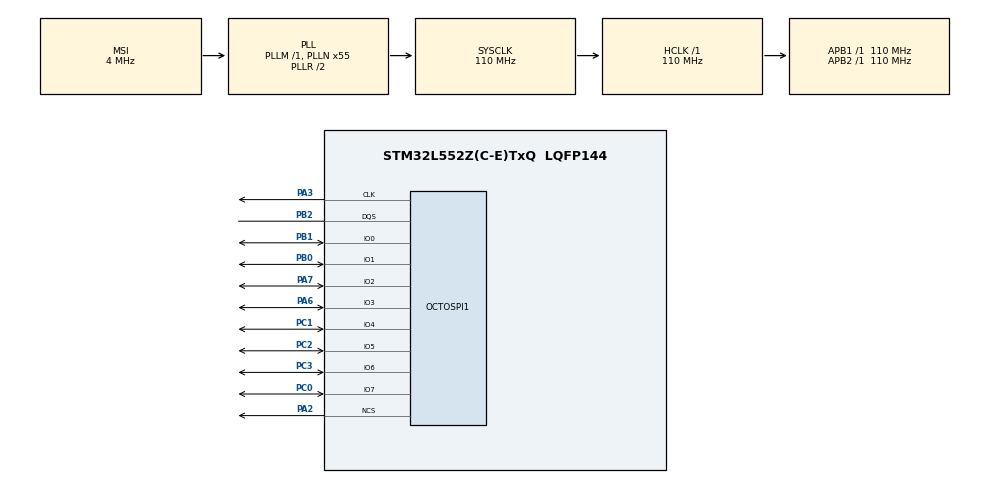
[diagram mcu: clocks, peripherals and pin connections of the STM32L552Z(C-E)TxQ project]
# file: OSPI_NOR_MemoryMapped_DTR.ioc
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Mcu.Family=STM32L5
Mcu.Name=STM32L552Z(C-E)TxQ
Mcu.Package=LQFP144
NVIC.OCTOSPI1_IRQn=true\:0\:0\:false\:false\:true\:true\:true\:true
NVIC.PriorityGroup=NVIC_PRIORITYGROUP_3
OCTOSPI1.ChipSelectHighTime=2
OCTOSPI1.ClockPrescaler=2
OCTOSPI1.DelayBlockBypass=HAL_OSPI_DELAY_BLOCK_USED
OCTOSPI1.DelayHoldQuarterCycle=HAL_OSPI_DHQC_ENABLE
OCTOSPI1.DeviceSize=26
OCTOSPI1.FifoThreshold=4
OCTOSPI1.MemoryType=HAL_OSPI_MEMTYPE_MACRONIX
PA2.GPIO_PuPd=GPIO_PULLUP
PA2.Mode=octods_mode
PA2.Signal=OCTOSPI1_NCS
PA3.Mode=octods_mode
PA3.Signal=OCTOSPI1_CLK
PA6.Mode=octods_mode
PA6.Signal=OCTOSPI1_IO3
PA7.Mode=octods_mode
PA7.Signal=OCTOSPI1_IO2
PB0.Mode=octods_mode
PB0.Signal=OCTOSPI1_IO1
PB1.Mode=octods_mode
PB1.Signal=OCTOSPI1_IO0
PB2.Mode=octods_mode
PB2.Signal=OCTOSPI1_DQS
PC0.Mode=octods_mode
PC0.Signal=OCTOSPI1_IO7
PC1.Mode=octods_mode
PC1.Signal=OCTOSPI1_IO4
PC2.Mode=octods_mode
PC2.Signal=OCTOSPI1_IO5
PC3.Mode=octods_mode
PC3.Signal=OCTOSPI1_IO6
ProjectManager.HeapSize=0x200
ProjectManager.StackSize=0x400
ProjectManager.TargetToolchain=EWARM V8.32
RCC.AHBFreq_Value=110000000
RCC.APB1Freq_Value=110000000
RCC.APB1TimFreq_Value=110000000
RCC.APB2Freq_Value=110000000
RCC.APB2TimFreq_Value=110000000
RCC.CortexFreq_Value=110000000
RCC.HCLKFreq_Value=110000000
RCC.HSE_VALUE=16000000
RCC.HSI48_VALUE=48000000
RCC.HSI_VALUE=16000000
RCC.LSE_VALUE=32768
RCC.MSI_VALUE=4000000
RCC.PLLN=55
RCC.SYSCLKFreq_VALUE=110000000
RCC.SYSCLKSource=RCC_SYSCLKSOURCE_PLLCLK
RCC.VCOOutputFreq_Value=220000000
VP_ICACHE_VS_ICACHE.Mode=DirectMappedCache
VP_PWR_VS_DBSignals.Mode=DisableDeadBatterySignals
board=custom

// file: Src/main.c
/* USER CODE BEGIN Header */
/**
  ******************************************************************************
  * @file    OSPI/OSPI_NOR_MemoryMapped_DTR/Src/main.c
  * @author  MCD Application Team
  * @brief   This example describes how to configure and use OctoSPI through
  *          the STM32L5xx HAL API.
  ******************************************************************************
  * @attention
  *
  * <h2><center>&copy; Copyright (c) 2019 STMicroelectronics.
  * All rights reserved.</center></h2>
  *
  * This software component is licensed by ST under BSD 3-Clause license,
  * the "License"; You may not use this file except in compliance with the
  * License. You may obtain a copy of the License at:
  *                        opensource.org/licenses/BSD-3-Clause
  *
  ******************************************************************************
  */
/* USER CODE END Header */
#include "main.h"

OSPI_HandleTypeDef hospi1;

/* USER CODE BEGIN PV */
__IO uint8_t CmdCplt;

/* Buffer used for transmission */
uint8_t aTxBuffer[] = " ****Memory-mapped OSPI communication****  ****Memory-mapped OSPI communication****  ****Memory-mapped OSPI communication****  ****Memory-mapped OSPI communication****  ****Memory-mapped OSPI communication****  ****Memory-mapped OSPI communication**** ";
/* USER CODE END PV */

void SystemClock_Config(void);
static void MX_ICACHE_Init(void);
static void MX_GPIO_Init(void);
static void MX_OCTOSPI1_Init(void);
/* USER CODE BEGIN PFP */
static void OSPI_WriteEnable(OSPI_HandleTypeDef *hospi);
static void OSPI_AutoPollingMemReady(OSPI_HandleTypeDef *hospi);
static void OSPI_OctalDtrModeCfg(OSPI_HandleTypeDef *hospi);
/* USER CODE END PFP */

int main(void)
{
  /* USER CODE BEGIN 1 */
  OSPI_RegularCmdTypeDef sCommand;
  OSPI_MemoryMappedTypeDef sMemMappedCfg;
  uint32_t address = 0;
  uint16_t index;
  __IO uint8_t step = 0;
  __IO uint8_t *mem_addr;
  /* USER CODE END 1 */

  /* MCU Configuration--------------------------------------------------------*/

  /* Reset of all peripherals, Initializes the Flash interface and the Systick. */
  HAL_Init();

  /* Configure the system clock */
  SystemClock_Config();

  /* USER CODE BEGIN SysInit */
  BSP_LED_Init(LED_GREEN);
  BSP_LED_Init(LED_RED);
  /* USER CODE END SysInit */

  /* Initialize all configured peripherals */
  MX_ICACHE_Init();
  MX_GPIO_Init();
  MX_OCTOSPI1_Init();
  /* USER CODE BEGIN 2 */

  /* Caution: Despite instruction cache is enabled, no need for cache invalidation here */
  /*          since no previous fetch (read/execute) instructions were executed on      */
  /*          a different memory content                                                */

  /* Configure the memory in octal mode ------------------------------------- */
  OSPI_OctalDtrModeCfg(&hospi1);

  sCommand.FlashId            = HAL_OSPI_FLASH_ID_1;
  sCommand.InstructionMode    = HAL_OSPI_INSTRUCTION_8_LINES;
  sCommand.InstructionSize    = HAL_OSPI_INSTRUCTION_16_BITS;
  sCommand.InstructionDtrMode = HAL_OSPI_INSTRUCTION_DTR_ENABLE;
  sCommand.AddressSize        = HAL_OSPI_ADDRESS_32_BITS;
  sCommand.AddressDtrMode     = HAL_OSPI_ADDRESS_DTR_ENABLE;
  sCommand.AlternateBytesMode = HAL_OSPI_ALTERNATE_BYTES_NONE;
  sCommand.DataDtrMode        = HAL_OSPI_DATA_DTR_ENABLE;
  sCommand.SIOOMode           = HAL_OSPI_SIOO_INST_EVERY_CMD;
  /* USER CODE END 2 */

  /* Infinite loop */
  /* USER CODE BEGIN WHILE */
  while (1)
  {
    switch(step)
    {
      case 0:
        CmdCplt = 0;

        /* Enable write operations ------------------------------------------ */
        OSPI_WriteEnable(&hospi1);

        /* Erasing Sequence ------------------------------------------------- */
        sCommand.OperationType = HAL_OSPI_OPTYPE_COMMON_CFG;
        sCommand.Instruction   = OCTAL_SECTOR_ERASE_CMD;
        sCommand.AddressMode   = HAL_OSPI_ADDRESS_8_LINES;
        sCommand.Address       = address;
        sCommand.DataMode      = HAL_OSPI_DATA_NONE;
        sCommand.DummyCycles   = 0;
        sCommand.DQSMode       = HAL_OSPI_DQS_DISABLE;

        if (HAL_OSPI_Command_IT(&hospi1, &sCommand) != HAL_OK)
        {
          Error_Handler();
        }

        step++;
        break;

      case 1:
        if(CmdCplt != 0)
        {
          CmdCplt = 0;

          /* Configure automatic polling mode to wait for end of erase ------ */
          OSPI_AutoPollingMemReady(&hospi1);

          /* Enable write operations ---------------------------------------- */
          OSPI_WriteEnable(&hospi1);

          /* Memory-mapped mode configuration ------------------------------- */
          sCommand.OperationType = HAL_OSPI_OPTYPE_WRITE_CFG;
          sCommand.Instruction   = OCTAL_PAGE_PROG_CMD;
          sCommand.DataMode      = HAL_OSPI_DATA_8_LINES;
          sCommand.NbData        = 1;
          sCommand.DQSMode       = HAL_OSPI_DQS_ENABLE;

          if (HAL_OSPI_Command(&hospi1, &sCommand, HAL_OSPI_TIMEOUT_DEFAULT_VALUE) != HAL_OK)
          {
            Error_Handler();
          }

          sCommand.OperationType = HAL_OSPI_OPTYPE_READ_CFG;
          sCommand.Instruction   = OCTAL_IO_DTR_READ_CMD;
          sCommand.DummyCycles   = DUMMY_CLOCK_CYCLES_READ;
          sCommand.DQSMode       = HAL_OSPI_DQS_ENABLE;

          if (HAL_OSPI_Command(&hospi1, &sCommand, HAL_OSPI_TIMEOUT_DEFAULT_VALUE) != HAL_OK)
          {
            Error_Handler();
          }

          sMemMappedCfg.TimeOutActivation = HAL_OSPI_TIMEOUT_COUNTER_ENABLE;
          sMemMappedCfg.TimeOutPeriod     = 0x70;
          if (HAL_OSPI_MemoryMapped(&hospi1, &sMemMappedCfg) != HAL_OK)
          {
            Error_Handler();
          }

          /* Writing Sequence ----------------------------------------------- */
          mem_addr = (uint8_t *)(OCTOSPI1_BASE + address);
          for (index = 0; index < BUFFERSIZE; index++)
          {
            *mem_addr = aTxBuffer[index];
            mem_addr++;
          }

          /* In memory-mapped mode, not possible to check if the memory is ready
             after the programming. So a delay corresponding to max page programming
             time is added */
          HAL_Delay(MEMORY_PAGE_PROG_DELAY);

          /* Reading Sequence ----------------------------------------------- */
          mem_addr = (uint8_t *)(OCTOSPI1_BASE + address);
          for (index = 0; index < BUFFERSIZE; index++)
          {
            if (*mem_addr != aTxBuffer[index])
            {
              BSP_LED_On(LED_RED);
            }
            mem_addr++;
          }
          BSP_LED_Toggle(LED_GREEN);
          HAL_Delay(50);

          address += OSPI_PAGE_SIZE;
          if(address >= OSPI_END_ADDR)
          {
            address = 0;
          }

          /* Abort OctoSPI driver to stop the memory-mapped mode ------------ */
          if (HAL_OSPI_Abort(&hospi1) != HAL_OK)
          {
            Error_Handler();
          }

          step = 0;
        }
        break;

      default :
        Error_Handler();
    }
    /* USER CODE END WHILE */

  }
}

void SystemClock_Config(void)
{
  RCC_OscInitTypeDef RCC_OscInitStruct = {0};
  RCC_ClkInitTypeDef RCC_ClkInitStruct = {0};

  /** Configure the main internal regulator output voltage
  */
  if (HAL_PWREx_ControlVoltageScaling(PWR_REGULATOR_VOLTAGE_SCALE0) != HAL_OK)
  {
    Error_Handler();
  }
  /** Initializes the RCC Oscillators according to the specified parameters
  * in the RCC_OscInitTypeDef structure.
  */
  RCC_OscInitStruct.OscillatorType = RCC_OSCILLATORTYPE_MSI;
  RCC_OscInitStruct.MSIState = RCC_MSI_ON;
  RCC_OscInitStruct.MSICalibrationValue = RCC_MSICALIBRATION_DEFAULT;
  RCC_OscInitStruct.MSIClockRange = RCC_MSIRANGE_6;
  RCC_OscInitStruct.PLL.PLLState = RCC_PLL_ON;
  RCC_OscInitStruct.PLL.PLLSource = RCC_PLLSOURCE_MSI;
  RCC_OscInitStruct.PLL.PLLM = 1;
  RCC_OscInitStruct.PLL.PLLN = 55;
  RCC_OscInitStruct.PLL.PLLP = RCC_PLLP_DIV7;
  RCC_OscInitStruct.PLL.PLLQ = RCC_PLLQ_DIV2;
  RCC_OscInitStruct.PLL.PLLR = RCC_PLLR_DIV2;
  if (HAL_RCC_OscConfig(&RCC_OscInitStruct) != HAL_OK)
  {
    Error_Handler();
  }
  /** Initializes the CPU, AHB and APB buses clocks
  */
  RCC_ClkInitStruct.ClockType = RCC_CLOCKTYPE_HCLK|RCC_CLOCKTYPE_SYSCLK
                              |RCC_CLOCKTYPE_PCLK1|RCC_CLOCKTYPE_PCLK2;
  RCC_ClkInitStruct.SYSCLKSource = RCC_SYSCLKSOURCE_PLLCLK;
  RCC_ClkInitStruct.AHBCLKDivider = RCC_SYSCLK_DIV1;
  RCC_ClkInitStruct.APB1CLKDivider = RCC_HCLK_DIV1;
  RCC_ClkInitStruct.APB2CLKDivider = RCC_HCLK_DIV1;

  if (HAL_RCC_ClockConfig(&RCC_ClkInitStruct, FLASH_LATENCY_5) != HAL_OK)
  {
    Error_Handler();
  }
}

static void MX_ICACHE_Init(void)
{

  /** Enable instruction cache in 1-way (direct mapped cache)
  */
  if (HAL_ICACHE_ConfigAssociativityMode(ICACHE_1WAY) != HAL_OK)
  {
    Error_Handler();
  }
  if (HAL_ICACHE_Enable() != HAL_OK)
  {
    Error_Handler();
  }

}

static void MX_OCTOSPI1_Init(void)
{

  /* OCTOSPI1 parameter configuration*/
  hospi1.Instance = OCTOSPI1;
  hospi1.Init.FifoThreshold = 4;
  hospi1.Init.DualQuad = HAL_OSPI_DUALQUAD_DISABLE;
  hospi1.Init.MemoryType = HAL_OSPI_MEMTYPE_MACRONIX;
  hospi1.Init.DeviceSize = 26;
  hospi1.Init.ChipSelectHighTime = 2;
  hospi1.Init.FreeRunningClock = HAL_OSPI_FREERUNCLK_DISABLE;
  hospi1.Init.ClockMode = HAL_OSPI_CLOCK_MODE_0;
  hospi1.Init.WrapSize = HAL_OSPI_WRAP_NOT_SUPPORTED;
  hospi1.Init.ClockPrescaler = 2;
  hospi1.Init.SampleShifting = HAL_OSPI_SAMPLE_SHIFTING_NONE;
  hospi1.Init.DelayHoldQuarterCycle = HAL_OSPI_DHQC_ENABLE;
  hospi1.Init.ChipSelectBoundary = 0;
  hospi1.Init.DelayBlockBypass = HAL_OSPI_DELAY_BLOCK_USED;
  hospi1.Init.Refresh = 0;
  if (HAL_OSPI_Init(&hospi1) != HAL_OK)
  {
    Error_Handler();
  }

}

static void MX_GPIO_Init(void)
{

  /* GPIO Ports Clock Enable */
  __HAL_RCC_GPIOC_CLK_ENABLE();
  __HAL_RCC_GPIOA_CLK_ENABLE();
  __HAL_RCC_GPIOB_CLK_ENABLE();

}

/* USER CODE BEGIN 4 */
/**
  * @brief  Command completed callback.
  * @param  hospi: OSPI handle
  * @retval None
  */
void HAL_OSPI_CmdCpltCallback(OSPI_HandleTypeDef *hospi)
{
  CmdCplt++;
}

/**
  * @brief  Transfer Error callback.
  * @param  hospi: OSPI handle
  * @retval None
  */
void HAL_OSPI_ErrorCallback(OSPI_HandleTypeDef *hospi)
{
  Error_Handler();
}

/**
  * @brief  This function send a Write Enable and wait it is effective.
  * @param  hospi: OSPI handle
  * @retval None
  */
static void OSPI_WriteEnable(OSPI_HandleTypeDef *hospi)
{
  OSPI_RegularCmdTypeDef  sCommand;
  OSPI_AutoPollingTypeDef sConfig;

  /* Enable write operations ------------------------------------------ */
  sCommand.OperationType      = HAL_OSPI_OPTYPE_COMMON_CFG;
  sCommand.FlashId            = HAL_OSPI_FLASH_ID_1;
  sCommand.Instruction        = OCTAL_WRITE_ENABLE_CMD;
  sCommand.InstructionMode    = HAL_OSPI_INSTRUCTION_8_LINES;
  sCommand.InstructionSize    = HAL_OSPI_INSTRUCTION_16_BITS;
  sCommand.InstructionDtrMode = HAL_OSPI_INSTRUCTION_DTR_ENABLE;
  sCommand.AddressMode        = HAL_OSPI_ADDRESS_NONE;
  sCommand.AlternateBytesMode = HAL_OSPI_ALTERNATE_BYTES_NONE;
  sCommand.DataMode           = HAL_OSPI_DATA_NONE;
  sCommand.DummyCycles        = 0;
  sCommand.DQSMode            = HAL_OSPI_DQS_DISABLE;
  sCommand.SIOOMode           = HAL_OSPI_SIOO_INST_EVERY_CMD;

  if (HAL_OSPI_Command(hospi, &sCommand, HAL_OSPI_TIMEOUT_DEFAULT_VALUE) != HAL_OK)
  {
    Error_Handler();
  }

  /* Configure automatic polling mode to wait for write enabling ---- */
  sCommand.Instruction    = OCTAL_READ_STATUS_REG_CMD;
  sCommand.Address        = 0x0;
  sCommand.AddressMode    = HAL_OSPI_ADDRESS_8_LINES;
  sCommand.AddressSize    = HAL_OSPI_ADDRESS_32_BITS;
  sCommand.AddressDtrMode = HAL_OSPI_ADDRESS_DTR_ENABLE;
  sCommand.DataMode       = HAL_OSPI_DATA_8_LINES;
  sCommand.DataDtrMode    = HAL_OSPI_DATA_DTR_ENABLE;
  sCommand.NbData         = 2;
  sCommand.DummyCycles    = DUMMY_CLOCK_CYCLES_READ_REG;
  sCommand.DQSMode        = HAL_OSPI_DQS_ENABLE;

  if (HAL_OSPI_Command(hospi, &sCommand, HAL_OSPI_TIMEOUT_DEFAULT_VALUE) != HAL_OK)
  {
    Error_Handler();
  }

  sConfig.Match         = WRITE_ENABLE_MATCH_VALUE;
  sConfig.Mask          = WRITE_ENABLE_MASK_VALUE;
  sConfig.MatchMode     = HAL_OSPI_MATCH_MODE_AND;
  sConfig.Interval      = AUTO_POLLING_INTERVAL;
  sConfig.AutomaticStop = HAL_OSPI_AUTOMATIC_STOP_ENABLE;

  if (HAL_OSPI_AutoPolling(hospi, &sConfig, HAL_OSPI_TIMEOUT_DEFAULT_VALUE) != HAL_OK)
  {
    Error_Handler();
  }
}

/**
  * @brief  This function read the SR of the memory and wait the EOP.
  * @param  hospi: OSPI handle
  * @retval None
  */
static void OSPI_AutoPollingMemReady(OSPI_HandleTypeDef *hospi)
{
  OSPI_RegularCmdTypeDef  sCommand;
  OSPI_AutoPollingTypeDef sConfig;

  /* Configure automatic polling mode to wait for memory ready ------ */
  sCommand.OperationType      = HAL_OSPI_OPTYPE_COMMON_CFG;
  sCommand.FlashId            = HAL_OSPI_FLASH_ID_1;
  sCommand.Instruction        = OCTAL_READ_STATUS_REG_CMD;
  sCommand.InstructionMode    = HAL_OSPI_INSTRUCTION_8_LINES;
  sCommand.InstructionSize    = HAL_OSPI_INSTRUCTION_16_BITS;
  sCommand.InstructionDtrMode = HAL_OSPI_INSTRUCTION_DTR_ENABLE;
  sCommand.Address            = 0x0;
  sCommand.AddressMode        = HAL_OSPI_ADDRESS_8_LINES;
  sCommand.AddressSize        = HAL_OSPI_ADDRESS_32_BITS;
  sCommand.AddressDtrMode     = HAL_OSPI_ADDRESS_DTR_ENABLE;
  sCommand.AlternateBytesMode = HAL_OSPI_ALTERNATE_BYTES_NONE;
  sCommand.DataMode           = HAL_OSPI_DATA_8_LINES;
  sCommand.DataDtrMode        = HAL_OSPI_DATA_DTR_ENABLE;
  sCommand.NbData             = 2;
  sCommand.DummyCycles        = DUMMY_CLOCK_CYCLES_READ_REG;
  sCommand.DQSMode            = HAL_OSPI_DQS_ENABLE;
  sCommand.SIOOMode           = HAL_OSPI_SIOO_INST_EVERY_CMD;

  if (HAL_OSPI_Command(hospi, &sCommand, HAL_OSPI_TIMEOUT_DEFAULT_VALUE) != HAL_OK)
  {
    Error_Handler();
  }

  sConfig.Match         = MEMORY_READY_MATCH_VALUE;
  sConfig.Mask          = MEMORY_READY_MASK_VALUE;
  sConfig.MatchMode     = HAL_OSPI_MATCH_MODE_AND;
  sConfig.Interval      = AUTO_POLLING_INTERVAL;
  sConfig.AutomaticStop = HAL_OSPI_AUTOMATIC_STOP_ENABLE;

  if (HAL_OSPI_AutoPolling(hospi, &sConfig, HAL_OSPI_TIMEOUT_DEFAULT_VALUE) != HAL_OK)
  {
    Error_Handler();
  }
}

/**
  * @brief  This function configure the memory in Octal DTR mode.
  * @param  hospi: OSPI handle
  * @retval None
  */
static void OSPI_OctalDtrModeCfg(OSPI_HandleTypeDef *hospi)
{
  OSPI_RegularCmdTypeDef  sCommand;
  OSPI_AutoPollingTypeDef sConfig;
  uint8_t reg;

  /* Enable write operations ---------------------------------------- */
  sCommand.OperationType      = HAL_OSPI_OPTYPE_COMMON_CFG;
  sCommand.FlashId            = HAL_OSPI_FLASH_ID_1;
  sCommand.Instruction        = WRITE_ENABLE_CMD;
  sCommand.InstructionMode    = HAL_OSPI_INSTRUCTION_1_LINE;
  sCommand.InstructionSize    = HAL_OSPI_INSTRUCTION_8_BITS;
  sCommand.InstructionDtrMode = HAL_OSPI_INSTRUCTION_DTR_DISABLE;
  sCommand.AddressMode        = HAL_OSPI_ADDRESS_NONE;
  sCommand.AlternateBytesMode = HAL_OSPI_ALTERNATE_BYTES_NONE;
  sCommand.DataMode           = HAL_OSPI_DATA_NONE;
  sCommand.DummyCycles        = 0;
  sCommand.DQSMode            = HAL_OSPI_DQS_DISABLE;
  sCommand.SIOOMode           = HAL_OSPI_SIOO_INST_EVERY_CMD;

  if (HAL_OSPI_Command(hospi, &sCommand, HAL_OSPI_TIMEOUT_DEFAULT_VALUE) != HAL_OK)
  {
    Error_Handler();
  }

  /* Configure automatic polling mode to wait for write enabling ---- */
  sCommand.Instruction = READ_STATUS_REG_CMD;
  sCommand.DataMode    = HAL_OSPI_DATA_1_LINE;
  sCommand.DataDtrMode = HAL_OSPI_DATA_DTR_DISABLE;
  sCommand.NbData      = 1;

  if (HAL_OSPI_Command(hospi, &sCommand, HAL_OSPI_TIMEOUT_DEFAULT_VALUE) != HAL_OK)
  {
    Error_Handler();
  }

  sConfig.Match         = WRITE_ENABLE_MATCH_VALUE;
  sConfig.Mask          = WRITE_ENABLE_MASK_VALUE;
  sConfig.MatchMode     = HAL_OSPI_MATCH_MODE_AND;
  sConfig.Interval      = AUTO_POLLING_INTERVAL;
  sConfig.AutomaticStop = HAL_OSPI_AUTOMATIC_STOP_ENABLE;

  if (HAL_OSPI_AutoPolling(hospi, &sConfig, HAL_OSPI_TIMEOUT_DEFAULT_VALUE) != HAL_OK)
  {
    Error_Handler();
  }

  /* Write Configuration register 2 (with new dummy cycles) --------- */
  sCommand.Instruction    = WRITE_CFG_REG_2_CMD;
  sCommand.Address        = CONFIG_REG2_ADDR3;
  sCommand.AddressMode    = HAL_OSPI_ADDRESS_1_LINE;
  sCommand.AddressSize    = HAL_OSPI_ADDRESS_32_BITS;
  sCommand.AddressDtrMode = HAL_OSPI_ADDRESS_DTR_DISABLE;

  if (HAL_OSPI_Command(hospi, &sCommand, HAL_OSPI_TIMEOUT_DEFAULT_VALUE) != HAL_OK)
  {
    Error_Handler();
  }

  reg = CR2_DUMMY_CYCLES_66MHZ;

  if (HAL_OSPI_Transmit(hospi, &reg, HAL_OSPI_TIMEOUT_DEFAULT_VALUE) != HAL_OK)
  {
    Error_Handler();
  }

  /* Wait that the memory is ready ---------------------------------- */
  sCommand.Instruction = READ_STATUS_REG_CMD;
  sCommand.AddressMode = HAL_OSPI_ADDRESS_NONE;

  if (HAL_OSPI_Command(hospi, &sCommand, HAL_OSPI_TIMEOUT_DEFAULT_VALUE) != HAL_OK)
  {
    Error_Handler();
  }

  sConfig.Match = MEMORY_READY_MATCH_VALUE;
  sConfig.Mask  = MEMORY_READY_MASK_VALUE;

  if (HAL_OSPI_AutoPolling(hospi, &sConfig, HAL_OSPI_TIMEOUT_DEFAULT_VALUE) != HAL_OK)
  {
    Error_Handler();
  }

  /* Enable write operations ---------------------------------------- */
  sCommand.Instruction = WRITE_ENABLE_CMD;
  sCommand.DataMode    = HAL_OSPI_DATA_NONE;

  if (HAL_OSPI_Command(hospi, &sCommand, HAL_OSPI_TIMEOUT_DEFAULT_VALUE) != HAL_OK)
  {
    Error_Handler();
  }

  /* Configure automatic polling mode to wait for write enabling ---- */
  sCommand.Instruction = READ_STATUS_REG_CMD;
  sCommand.DataMode    = HAL_OSPI_DATA_1_LINE;

  if (HAL_OSPI_Command(hospi, &sCommand, HAL_OSPI_TIMEOUT_DEFAULT_VALUE) != HAL_OK)
  {
    Error_Handler();
  }

  sConfig.Match = WRITE_ENABLE_MATCH_VALUE;
  sConfig.Mask  = WRITE_ENABLE_MASK_VALUE;

  if (HAL_OSPI_AutoPolling(hospi, &sConfig, HAL_OSPI_TIMEOUT_DEFAULT_VALUE) != HAL_OK)
  {
    Error_Handler();
  }

  /* Write Configuration register 2 (with octal mode) --------------- */
  sCommand.Instruction = WRITE_CFG_REG_2_CMD;
  sCommand.Address     = CONFIG_REG2_ADDR1;
  sCommand.AddressMode = HAL_OSPI_ADDRESS_1_LINE;

  if (HAL_OSPI_Command(hospi, &sCommand, HAL_OSPI_TIMEOUT_DEFAULT_VALUE) != HAL_OK)
  {
    Error_Handler();
  }

  reg = CR2_DTR_OPI_ENABLE;

  if (HAL_OSPI_Transmit(hospi, &reg, HAL_OSPI_TIMEOUT_DEFAULT_VALUE) != HAL_OK)
  {
    Error_Handler();
  }

  /* Wait that the configuration is effective and check that memory is ready */
  HAL_Delay(MEMORY_REG_WRITE_DELAY);

  /* Wait that the memory is ready ---------------------------------- */
  OSPI_AutoPollingMemReady(hospi);
}
/* USER CODE END 4 */

void Error_Handler(void)
{
  /* USER CODE BEGIN Error_Handler_Debug */
  BSP_LED_On(LED_RED);

  /* User may add here some code to deal with this error */
  while(1)
  {
    HAL_Delay(100);
    BSP_LED_Toggle(LED_RED);
  }
  /* USER CODE END Error_Handler_Debug */
}

/************************ (C) COPYRIGHT STMicroelectronics *****END OF FILE****/
